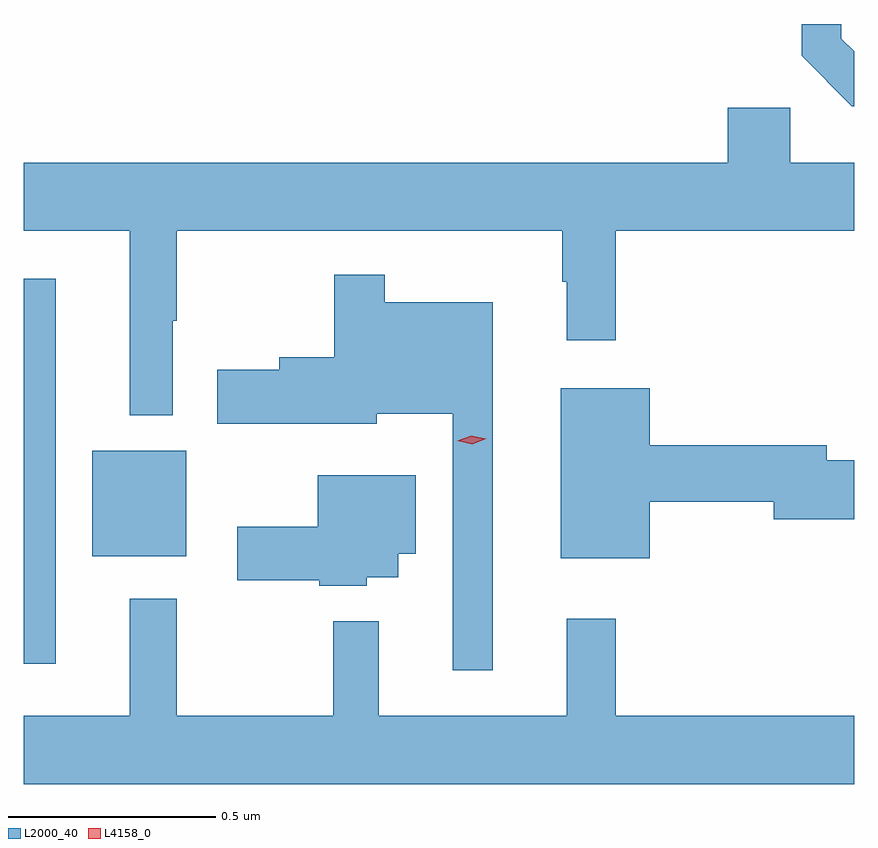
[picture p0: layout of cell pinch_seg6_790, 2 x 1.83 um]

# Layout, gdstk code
import gdstk
lib = gdstk.Library(unit=1e-6, precision=1e-09)
def R(c, l, rs):  # rectangles x0, y0, x1, y1
    for r in rs: c.add(gdstk.rectangle(r[:2], r[2:], *l))
def P(c, l, *ps):  # polygons
    for p in ps: c.add(gdstk.Polygon(p, *l))
L2000_40 = (2000, 40)
L4158_0 = (4158, 0)

pinch_seg6_790 = lib.new_cell('pinch_seg6_790')
R(pinch_seg6_790, L2000_40, [(261.662,995.577,261.739,996.505), (261.827,995.837,262.054,996.091)])
P(pinch_seg6_790, L2000_40, [(263.662,997.052),(263.631,997.083),(263.631,997.118),(263.535,997.118),(263.535,997.041),(263.656,996.92),(263.662,996.92)],
  [(262.021,996.404),(262.031,996.404),(262.031,996.62),(262.959,996.62),(262.959,996.497),(262.97,996.497),(262.97,996.357),(263.087,996.357),(263.087,996.62),(263.662,996.62),(263.662,996.784),(263.508,996.784),(263.508,996.916),(263.357,996.916),(263.357,996.784),(261.662,996.784),(261.662,996.62),(261.917,996.62),(261.917,996.176),(262.021,996.176)],
  [(262.792,996.448),(262.531,996.448),(262.531,996.514),(262.41,996.514),(262.41,996.315),(262.277,996.315),(262.277,996.285),(262.128,996.285),(262.128,996.155),(262.512,996.155),(262.512,996.179),(262.695,996.179),(262.695,995.562),(262.792,995.562)],
  [(263.17,995.968),(263.468,995.968),(263.468,995.926),(263.662,995.926),(263.662,996.068),(263.596,996.068),(263.596,996.104),(263.17,996.104),(263.17,996.241),(262.955,996.241),(262.955,995.831),(263.17,995.831)],
  [(262.488,995.786),(262.564,995.786),(262.564,995.843),(262.606,995.843),(262.606,996.031),(262.37,996.031),(262.37,995.908),(262.176,995.908),(262.176,995.779),(262.374,995.779),(262.374,995.765),(262.488,995.765)],
  [(263.662,995.452),(263.087,995.452),(263.087,995.686),(262.97,995.686),(262.97,995.452),(262.517,995.452),(262.517,995.68),(262.407,995.68),(262.407,995.452),(262.031,995.452),(262.031,995.734),(261.917,995.734),(261.917,995.452),(261.662,995.452),(261.662,995.288),(263.662,995.288)])
P(pinch_seg6_790, L4158_0, [(262.742,996.106),(262.706,996.114),(262.706,996.114),(262.706,996.114),(262.74,996.126),(262.776,996.119),(262.776,996.119),(262.776,996.119)])

lib.write_gds('pinch_seg6_790.gds')
